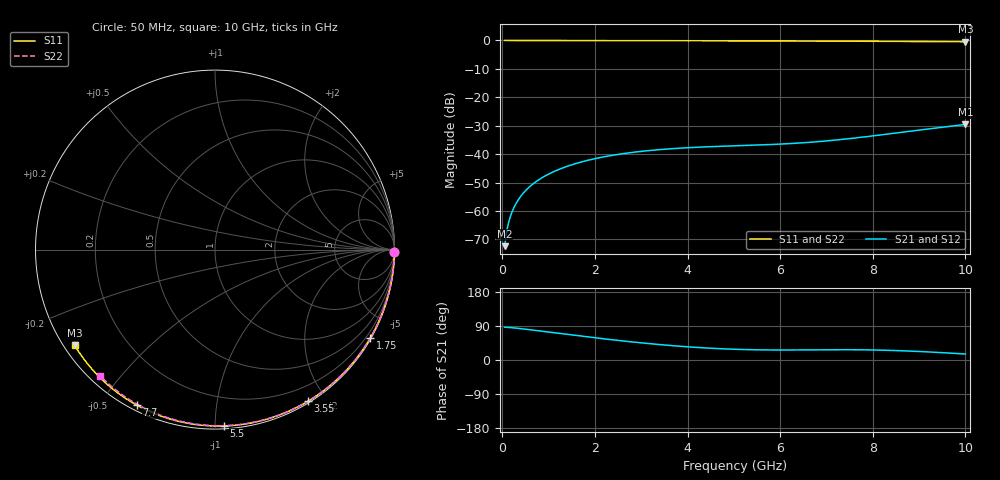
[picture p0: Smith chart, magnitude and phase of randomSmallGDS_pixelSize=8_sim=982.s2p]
! freq	dB(S11)	phase(S11)	dB(S12)	phase(S12)
!  dB(S21)	phase(S21)	dB(S22)	phase(S22)
!S-par simulation data
#  GHz  S  DB  R 50
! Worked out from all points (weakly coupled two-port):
!   200 points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, 50 MHz to 10 GHz, reference 50 ohm
!   highest |S21| = -29.54 dB at 10 GHz (marker M1); lowest = -72.4 dB at 50 MHz (marker M2)
!   lowest |S11| = -0.5 dB at 10 GHz (marker M3), VSWR 36.05, Z = 1.52 - j15.4 ohm
!   |S11| at or under -10 dB: nowhere
!   |S22| runs from -0.4 to 0.0 dB; largest |S21 - S12| = 0
!   S11 on the Smith chart (normalised r, x): 50 MHz: open; 1.75 GHz: 0.03, -3.78; 3.55 GHz: 0.02, -1.79; 5.5 GHz: 0.02, -1.05; 7.7 GHz: 0.02, -0.62; 10 GHz: 0.03, -0.31
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0.05  -0.00 -0.9  -72.36 86.7  -72.36 86.7  -0.00 -0.8
0.1  -0.00 -1.7  -66.59 86.1  -66.59 86.1  -0.00 -1.6
0.15  -0.00 -2.6  -63.18 85.8  -63.18 85.8  -0.00 -2.3
0.2  -0.00 -3.4  -60.73 85.3  -60.73 85.3  -0.00 -3.1
0.25  -0.00 -4.3  -58.81 84.8  -58.81 84.8  -0.00 -3.9
0.35  -0.00 -6.0  -55.93 83.5  -55.93 83.5  -0.00 -5.4
0.5  -0.01 -8.6  -52.87 81.3  -52.87 81.3  -0.01 -7.8
0.7  -0.01 -12.0  -50.00 78.3  -50.00 78.3  -0.01 -10.8
1  -0.02 -17.1  -47.00 73.6  -47.00 73.6  -0.02 -15.4
1.35  -0.03 -23.0  -44.56 68.3  -44.56 68.3  -0.03 -20.8
1.75  -0.04 -29.6  -42.56 62.2  -42.56 62.2  -0.03 -26.8
2.5  -0.05 -41.9  -40.08 51.6  -40.08 51.6  -0.05 -37.9
3.4  -0.07 -56.2  -38.39 40.7  -38.39 40.7  -0.07 -50.9
3.55  -0.08 -58.5  -38.20 39.1  -38.20 39.1  -0.07 -53.0
4.3  -0.10 -69.8  -37.49 32.4  -37.49 32.4  -0.09 -63.4
5.05  -0.12 -80.8  -37.05 28.2  -37.05 28.2  -0.11 -73.4
5.5  -0.14 -87.2  -36.80 26.9  -36.80 26.9  -0.13 -79.3
6.7  -0.20 -103.6  -35.75 26.8  -35.75 26.8  -0.18 -94.3
7.7  -0.26 -116.7  -34.16 27.0  -34.16 27.0  -0.24 -106.3
8.35  -0.32 -125.0  -32.88 25.5  -32.88 25.5  -0.29 -113.8
9.2  -0.39 -135.7  -31.13 21.3  -31.13 21.3  -0.36 -123.5
10  -0.48 -145.7  -29.54 15.8  -29.54 15.8  -0.44 -132.4
